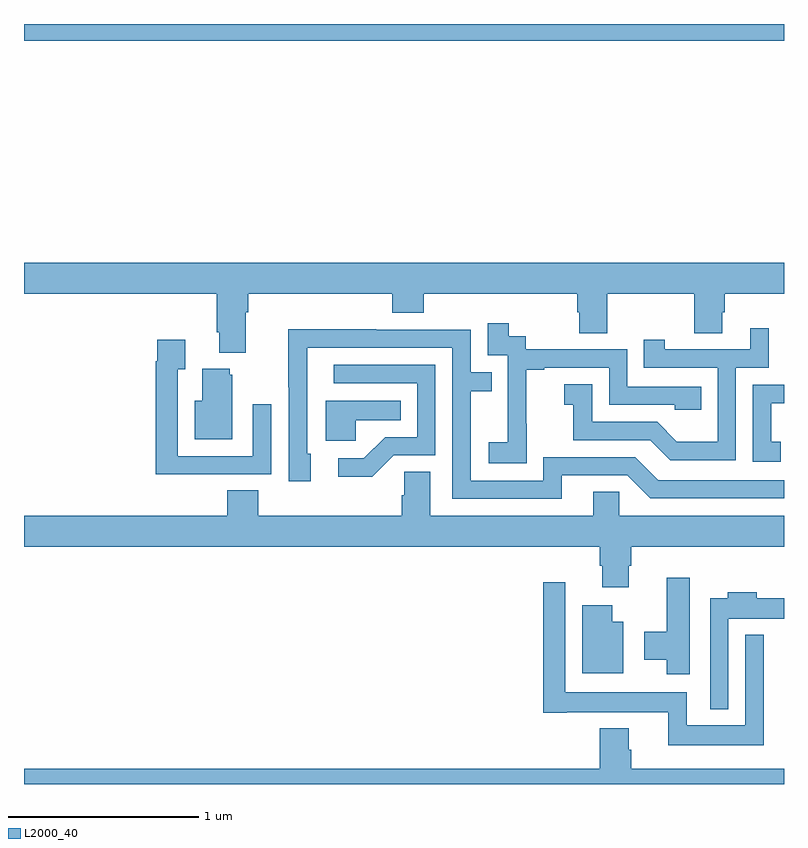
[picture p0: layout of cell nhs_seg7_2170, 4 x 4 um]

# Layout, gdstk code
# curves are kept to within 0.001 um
import gdstk
lib = gdstk.Library(unit=1e-6, precision=1e-09)
def R(c, l, rs):  # rectangles x0, y0, x1, y1
    for r in rs: c.add(gdstk.rectangle(r[:2], r[2:], *l))
def P(c, l, *ps):  # polygons
    for p in ps: c.add(gdstk.Polygon(p, *l))
L2000_40 = (2000, 40)

nhs_seg7_2170 = lib.new_cell('nhs_seg7_2170')
R(nhs_seg7_2170, L2000_40, [(253,1037.912,257,1038)])
P(nhs_seg7_2170, L2000_40, [(254.167,1036.484),(254.18,1036.484),(254.18,1036.58),(254.939,1036.58),(254.939,1036.481),(255.104,1036.481),(255.104,1036.58),(255.911,1036.58),(255.911,1036.482),(255.923,1036.482),(255.923,1036.372),(256.071,1036.372),(256.071,1036.58),(256.528,1036.58),(256.528,1036.372),(256.675,1036.372),(256.675,1036.482),(256.688,1036.482),(256.688,1036.58),(257,1036.58),(257,1036.744),(253,1036.744),(253,1036.58),(254.015,1036.58),(254.015,1036.378),(254.027,1036.378),(254.027,1036.271),(254.167,1036.271)],
  [(255.645,1035.895),(255.644,1035.895),(255.644,1036.179),(255.739,1036.179),(255.739,1036.191),(256.08,1036.191),(256.08,1035.996),(256.425,1035.996),(256.425,1035.969),(256.565,1035.969),(256.565,1036.092),(256.176,1036.092),(256.176,1036.287),(255.642,1036.287),(255.642,1036.356),(255.55,1036.356),(255.55,1036.426),(255.441,1036.426),(255.441,1036.257),(255.546,1036.257),(255.546,1036.028),(255.545,1036.028),(255.545,1035.799),(255.447,1035.799),(255.447,1035.689),(255.645,1035.689)],
  [(256.746,1036.191),(256.92,1036.191),(256.92,1036.399),(256.823,1036.399),(256.823,1036.287),(256.372,1036.287),(256.372,1036.339),(256.261,1036.339),(256.261,1036.191),(256.65,1036.191),(256.65,1035.802),(256.436,1035.802),(256.332,1035.906),(255.99,1035.906),(255.99,1036.105),(255.843,1036.105),(255.843,1035.995),(255.892,1035.995),(255.892,1035.81),(256.295,1035.81),(256.4,1035.705),(256.746,1035.705)],
  [(255.829,1035.624),(256.176,1035.624),(256.296,1035.504),(257,1035.504),(257,1035.6),(256.338,1035.6),(256.218,1035.72),(255.732,1035.72),(255.732,1035.597),(255.351,1035.597),(255.351,1036.066),(255.461,1036.066),(255.461,1036.167),(255.351,1036.167),(255.351,1036.392),(254.855,1036.392),(254.855,1036.394),(254.392,1036.394),(254.392,1036.087),(254.394,1036.087),(254.394,1035.594),(254.509,1035.594),(254.509,1035.738),(254.49,1035.738),(254.491,1036.296),(255.255,1036.296),(255.255,1035.501),(255.829,1035.501)],
  [(253.985,1035.63),(254.301,1035.63),(254.301,1036),(254.205,1036),(254.205,1035.726),(253.809,1035.726),(253.809,1036.183),(253.849,1036.183),(253.849,1036.339),(253.701,1036.339),(253.701,1036.226),(253.693,1036.226),(253.693,1035.629),(253.985,1035.629)],
  [(254.946,1035.729),(255.165,1035.729),(255.165,1036.206),(254.631,1036.206),(254.631,1036.11),(255.069,1036.11),(255.069,1035.825),(254.9,1035.825),(254.789,1035.714),(254.655,1035.714),(254.655,1035.617),(254.833,1035.617)],
  [(254.095,1036.155),(254.084,1036.155),(254.084,1036.186),(253.937,1036.186),(253.937,1036.018),(253.898,1036.018),(253.898,1035.815),(254.095,1035.815)],
  [(256.982,1035.801),(256.933,1035.801),(256.933,1036.005),(257,1036.005),(257,1036.101),(256.836,1036.101),(256.836,1035.696),(256.982,1035.696)],
  [(254.745,1035.914),(254.984,1035.914),(254.984,1036.018),(254.588,1036.018),(254.588,1035.806),(254.745,1035.806)],
  [(256.183,1035.15),(256.196,1035.15),(256.196,1035.248),(257,1035.248),(257,1035.412),(256.134,1035.412),(256.134,1035.539),(255.995,1035.539),(255.995,1035.412),(255.139,1035.412),(255.139,1035.644),(255,1035.644),(255,1035.521),(254.987,1035.521),(254.987,1035.412),(254.234,1035.412),(254.234,1035.545),(254.069,1035.545),(254.069,1035.412),(253,1035.412),(253,1035.248),(256.031,1035.248),(256.031,1035.15),(256.043,1035.15),(256.043,1035.036),(256.183,1035.036)],
  [(256.504,1035.085),(256.382,1035.085),(256.382,1034.802),(256.265,1034.802),(256.265,1034.654),(256.382,1034.654),(256.382,1034.577),(256.504,1034.577)],
  [(256.894,1034.785),(256.797,1034.785),(256.797,1034.308),(256.488,1034.308),(256.488,1034.482),(255.849,1034.482),(255.849,1035.061),(255.733,1035.061),(255.733,1034.376),(255.856,1034.376),(255.856,1034.378),(256.391,1034.378),(256.391,1034.204),(256.894,1034.204)],
  [(256.707,1034.87),(257,1034.87),(257,1034.977),(256.856,1034.977),(256.856,1035.01),(256.703,1035.01),(256.703,1034.977),(256.611,1034.977),(256.611,1034.393),(256.707,1034.393)],
  [(256.153,1034.854),(256.096,1034.854),(256.096,1034.941),(255.938,1034.941),(255.938,1034.582),(256.153,1034.582)],
  [(257,1034.08),(256.196,1034.08),(256.196,1034.181),(256.183,1034.181),(256.183,1034.293),(256.031,1034.293),(256.031,1034.08),(253,1034.08),(253,1034),(257,1034)])

lib.write_gds('nhs_seg7_2170.gds')
